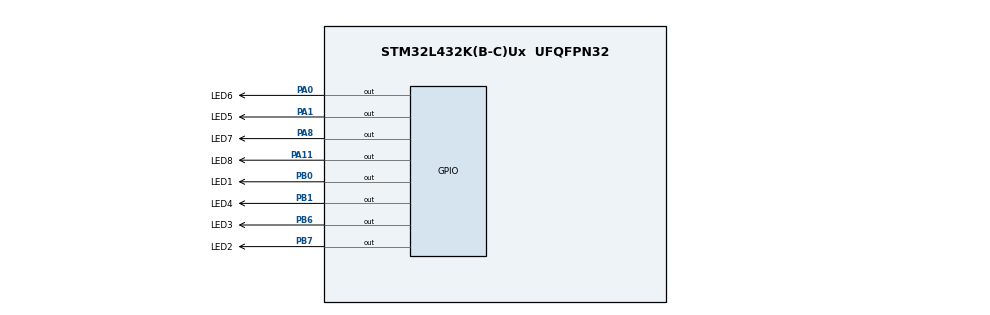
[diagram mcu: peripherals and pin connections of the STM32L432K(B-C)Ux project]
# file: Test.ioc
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Mcu.Family=STM32L4
Mcu.Name=STM32L432K(B-C)Ux
Mcu.Package=UFQFPN32
NVIC.PriorityGroup=NVIC_PRIORITYGROUP_4
PA0.GPIO_Label=LED6
PA0.Signal=GPIO_Output
PA1.GPIO_Label=LED5
PA1.Signal=GPIO_Output
PA11.GPIO_Label=LED8
PA11.GPIO_Speed=GPIO_SPEED_FREQ_HIGH
PA11.Signal=GPIO_Output
PA8.GPIO_Label=LED7
PA8.GPIO_Speed=GPIO_SPEED_FREQ_HIGH
PA8.Signal=GPIO_Output
PB0.GPIO_Label=LED1
PB0.GPIO_Speed=GPIO_SPEED_FREQ_HIGH
PB0.Signal=GPIO_Output
PB1.GPIO_Label=LED4
PB1.GPIO_Speed=GPIO_SPEED_FREQ_HIGH
PB1.Signal=GPIO_Output
PB6.GPIO_Label=LED3
PB6.GPIO_Speed=GPIO_SPEED_FREQ_HIGH
PB6.Signal=GPIO_Output
PB7.GPIO_Label=LED2
PB7.GPIO_Speed=GPIO_SPEED_FREQ_HIGH
PB7.Signal=GPIO_Output
ProjectManager.HeapSize=0x200
ProjectManager.StackSize=0x400
ProjectManager.TargetToolchain=STM32CubeIDE
RCC.HSE_VALUE=8000000
RCC.HSI48_VALUE=48000000
RCC.HSI_VALUE=16000000
RCC.LSE_VALUE=32768
RCC.MSI_VALUE=4000000
RCC.VCOOutputFreq_Value=32000000
board=custom

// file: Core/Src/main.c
/* USER CODE BEGIN Header */
/**
  ******************************************************************************
  * @file           : main.c
  * @brief          : Main program body
  ******************************************************************************
  * @attention
  *
  * Copyright (c) 2026 STMicroelectronics.
  * All rights reserved.
  *
  * This software is licensed under terms that can be found in the LICENSE file
  * in the root directory of this software component.
  * If no LICENSE file comes with this software, it is provided AS-IS.
  *
  ******************************************************************************
  */
/* USER CODE END Header */
#include "main.h"

void SystemClock_Config(void);
static void MX_GPIO_Init(void);

int main(void)
{

	uint8_t binary[8];
	uint8_t Number_to_binary = 0;

  /* MCU Configuration--------------------------------------------------------*/

  /* Reset of all peripherals, Initializes the Flash interface and the Systick. */
  HAL_Init();

  /* Configure the system clock */
  SystemClock_Config();

  /* Initialize all configured peripherals */
  MX_GPIO_Init();

  /* Infinite loop */
  while (1)
  {

    /* USER CODE BEGIN 3 */

	Number_to_binary++;

	uint8_t temp = Number_to_binary;
	for (int i = 0; i<8; i++){
		binary[i] = temp % 2;
		temp = temp / 2;
	}

	// LED8
	    if (binary[0] == 1)
	    {
	      HAL_GPIO_WritePin(GPIOA, LED8_Pin, GPIO_PIN_SET);
	    }
	    else
	    {
	      HAL_GPIO_WritePin(GPIOA, LED8_Pin, GPIO_PIN_RESET);
	    }

	    // LED7
	    if (binary[1] == 1)
	    {
	      HAL_GPIO_WritePin(GPIOA, LED7_Pin, GPIO_PIN_SET);
	    }
	    else
	    {
	      HAL_GPIO_WritePin(GPIOA, LED7_Pin, GPIO_PIN_RESET);
	    }

	    // LED6
	    if (binary[2] == 1)
	    {
	      HAL_GPIO_WritePin(GPIOA, LED6_Pin, GPIO_PIN_SET);
	    }
	    else
	    {
	      HAL_GPIO_WritePin(GPIOA, LED6_Pin, GPIO_PIN_RESET);
	    }

	    // LED5
	    if (binary[3] == 1)
	    {
	      HAL_GPIO_WritePin(GPIOA, LED5_Pin, GPIO_PIN_SET);
	    }
	    else
	    {
	      HAL_GPIO_WritePin(GPIOA, LED5_Pin, GPIO_PIN_RESET);
	    }

	    // LED4
	    if (binary[4] == 1)
	    {
	    	HAL_GPIO_WritePin(GPIOB, LED4_Pin, GPIO_PIN_SET);
	    }
	    else
	    {
	    	HAL_GPIO_WritePin(GPIOB, LED4_Pin, GPIO_PIN_RESET);
	    }
	    // LED3
	    if (binary[5] == 1)
	   	{
	    	HAL_GPIO_WritePin(GPIOB, LED3_Pin, GPIO_PIN_SET);
	    }
	   	else
	   	{
	   		HAL_GPIO_WritePin(GPIOB, LED3_Pin, GPIO_PIN_RESET);
	   	}

	    // LED2
	    if (binary[6] == 1)
	   	{
	    	HAL_GPIO_WritePin(GPIOB, LED2_Pin, GPIO_PIN_SET);
	   	}
	   	else
	   	{
	   		HAL_GPIO_WritePin(GPIOB, LED2_Pin, GPIO_PIN_RESET);
	   	}

	    // LED1
	    if (binary[7] == 1)
	    {
	    	HAL_GPIO_WritePin(GPIOB, LED1_Pin, GPIO_PIN_SET);
	    }
	    else
	    {
	    	HAL_GPIO_WritePin(GPIOB, LED1_Pin, GPIO_PIN_RESET);
	    }

	    HAL_Delay(500);

  }
  /* USER CODE END 3 */
}

void SystemClock_Config(void)
{
  RCC_OscInitTypeDef RCC_OscInitStruct = {0};
  RCC_ClkInitTypeDef RCC_ClkInitStruct = {0};

  /** Configure the main internal regulator output voltage
  */
  if (HAL_PWREx_ControlVoltageScaling(PWR_REGULATOR_VOLTAGE_SCALE1) != HAL_OK)
  {
    Error_Handler();
  }

  /** Initializes the RCC Oscillators according to the specified parameters
  * in the RCC_OscInitTypeDef structure.
  */
  RCC_OscInitStruct.OscillatorType = RCC_OSCILLATORTYPE_MSI;
  RCC_OscInitStruct.MSIState = RCC_MSI_ON;
  RCC_OscInitStruct.MSICalibrationValue = 0;
  RCC_OscInitStruct.MSIClockRange = RCC_MSIRANGE_6;
  RCC_OscInitStruct.PLL.PLLState = RCC_PLL_NONE;
  if (HAL_RCC_OscConfig(&RCC_OscInitStruct) != HAL_OK)
  {
    Error_Handler();
  }

  /** Initializes the CPU, AHB and APB buses clocks
  */
  RCC_ClkInitStruct.ClockType = RCC_CLOCKTYPE_HCLK|RCC_CLOCKTYPE_SYSCLK
                              |RCC_CLOCKTYPE_PCLK1|RCC_CLOCKTYPE_PCLK2;
  RCC_ClkInitStruct.SYSCLKSource = RCC_SYSCLKSOURCE_MSI;
  RCC_ClkInitStruct.AHBCLKDivider = RCC_SYSCLK_DIV1;
  RCC_ClkInitStruct.APB1CLKDivider = RCC_HCLK_DIV1;
  RCC_ClkInitStruct.APB2CLKDivider = RCC_HCLK_DIV1;

  if (HAL_RCC_ClockConfig(&RCC_ClkInitStruct, FLASH_LATENCY_0) != HAL_OK)
  {
    Error_Handler();
  }
}

static void MX_GPIO_Init(void)
{
  GPIO_InitTypeDef GPIO_InitStruct = {0};

  /* GPIO Ports Clock Enable */
  __HAL_RCC_GPIOA_CLK_ENABLE();
  __HAL_RCC_GPIOB_CLK_ENABLE();

  /*Configure GPIO pin Output Level */
  HAL_GPIO_WritePin(GPIOA, LED6_Pin|LED5_Pin|LED7_Pin|LED8_Pin, GPIO_PIN_RESET);

  /*Configure GPIO pin Output Level */
  HAL_GPIO_WritePin(GPIOB, LED1_Pin|LED4_Pin|LED3_Pin|LED2_Pin, GPIO_PIN_RESET);

  /*Configure GPIO pins : LED6_Pin LED5_Pin */
  GPIO_InitStruct.Pin = LED6_Pin|LED5_Pin;
  GPIO_InitStruct.Mode = GPIO_MODE_OUTPUT_PP;
  GPIO_InitStruct.Pull = GPIO_NOPULL;
  GPIO_InitStruct.Speed = GPIO_SPEED_FREQ_LOW;
  HAL_GPIO_Init(GPIOA, &GPIO_InitStruct);

  /*Configure GPIO pins : LED1_Pin LED4_Pin LED3_Pin LED2_Pin */
  GPIO_InitStruct.Pin = LED1_Pin|LED4_Pin|LED3_Pin|LED2_Pin;
  GPIO_InitStruct.Mode = GPIO_MODE_OUTPUT_PP;
  GPIO_InitStruct.Pull = GPIO_NOPULL;
  GPIO_InitStruct.Speed = GPIO_SPEED_FREQ_HIGH;
  HAL_GPIO_Init(GPIOB, &GPIO_InitStruct);

  /*Configure GPIO pins : LED7_Pin LED8_Pin */
  GPIO_InitStruct.Pin = LED7_Pin|LED8_Pin;
  GPIO_InitStruct.Mode = GPIO_MODE_OUTPUT_PP;
  GPIO_InitStruct.Pull = GPIO_NOPULL;
  GPIO_InitStruct.Speed = GPIO_SPEED_FREQ_HIGH;
  HAL_GPIO_Init(GPIOA, &GPIO_InitStruct);

}

void Error_Handler(void)
{
  __disable_irq();
  while (1)
  {
  }
}
